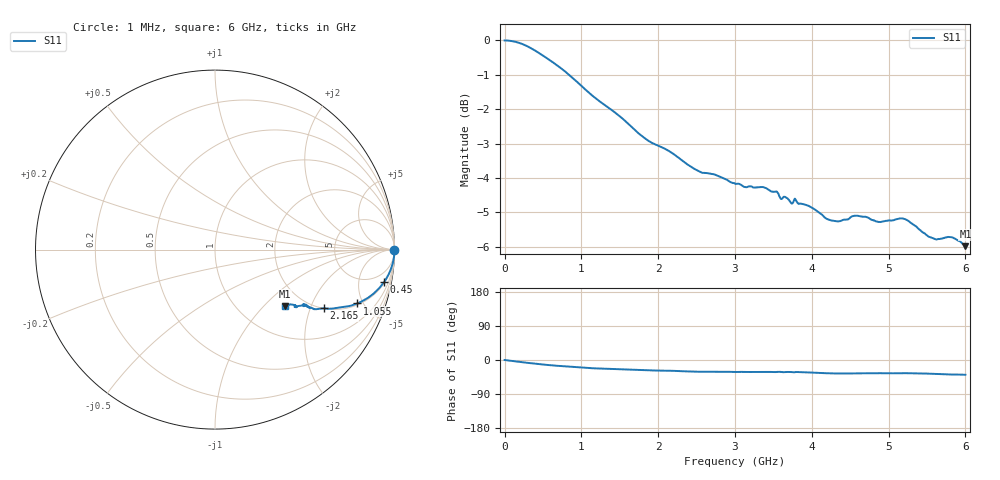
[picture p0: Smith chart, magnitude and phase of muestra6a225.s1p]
! COPPER MOUNTAIN TECHNOLOGIES, R60, 23103002, 24.3.3/3.0
! Date: 23/10/2026 12:14:07
! Data: Format [Calibration Info]
! Frequency		S11: Re/Im RO
# HZ S RI R 50
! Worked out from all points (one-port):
!   1280 points, 1 MHz to 6 GHz, reference 50 ohm
!   lowest |S11| = -6.0 dB at 6 GHz (marker M1), VSWR 3.01, Z = 79.3 - j66.9 ohm
!   |S11| at or under -10 dB: nowhere
!   S11 on the Smith chart (normalised r, x): 1 MHz: open; 450 MHz: 2, -10; 1.055 GHz: 2.12, -4.52; 2.165 GHz: 2.00, -2.49; 6 GHz: 1.59, -1.34
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1000000  1 -0.000371
2.1e8  0.986 -0.0918
4.5e8  0.9413 -0.1814
5.95e8  0.9083 -0.2218
7.55e8  0.8707 -0.2557
1.055e9  0.793 -0.2999
1.215e9  0.7572 -0.312
1.505e9  0.7055 -0.3208
1.84e9  0.6387 -0.3296
2.165e9  0.6049 -0.3272
2.255e9  0.5914 -0.3285
2.54e9  0.5523 -0.3319
2.76e9  0.5457 -0.3279
3.005e9  0.5266 -0.324
3.395e9  0.5208 -0.3183
3.71e9  0.4981 -0.3055
3.755e9  0.4898 -0.3115
3.96e9  0.4827 -0.3112
4.24e9  0.4472 -0.3158
4.365e9  0.4433 -0.3185
4.505e9  0.4501 -0.3211
4.605e9  0.4539 -0.3201
4.88e9  0.4467 -0.3105
5.16e9  0.4527 -0.3139
5.255e9  0.4485 -0.3119
5.615e9  0.4105 -0.3083
5.79e9  0.4063 -0.3204
6e9  0.3902 -0.3156
